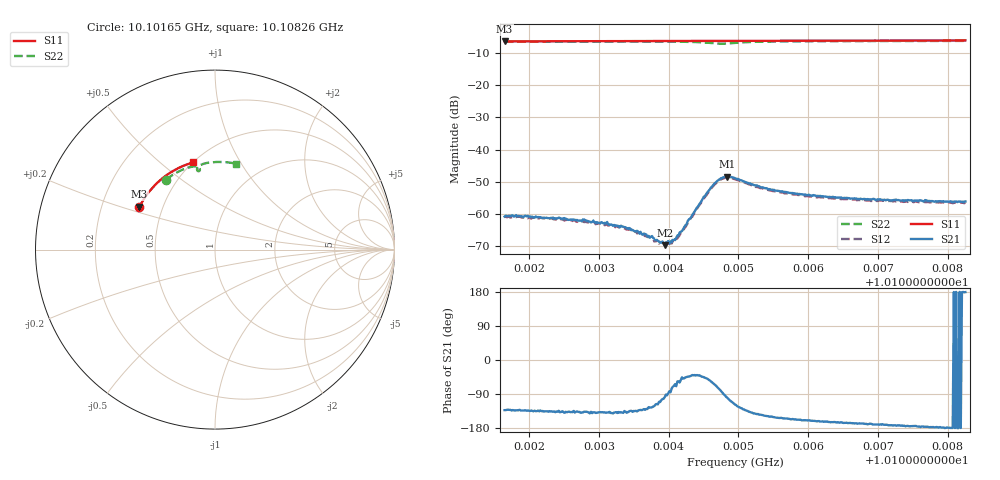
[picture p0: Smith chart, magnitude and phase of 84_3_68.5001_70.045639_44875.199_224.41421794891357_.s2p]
#  HZ  S  RI  R  50.00
! Rohde & Schwarz Vector Network Analyzer
! Rohde-Schwarz,ZNB20-2Port,1311601062101988,3.16
! Created: UTC 3/20/2024, 5:07:26 PM
! freq[Hz]  re:S11  im:S11  re:S21  im:S21  re:S12  im:S12  re:S22  im:S22
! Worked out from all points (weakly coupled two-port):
!   401 points, 10.10165 GHz to 10.10826 GHz, reference 50 ohm
!   highest |S21| = -48.46 dB at 10.10484 GHz (marker M1); lowest = -69.7 dB at 10.10394 GHz (marker M2)
!   lowest |S11| = -6.3 dB at 10.10165 GHz (marker M3), VSWR 2.87, Z = 18.5 + j11.5 ohm
!   |S11| at or under -10 dB: nowhere
!   |S22| runs from -7.0 to -6.1 dB; largest |S21 - S12| = 0.00039
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1.0101646e10  -0.4207 0.2389  -0.000608 -0.000667  -0.000516 -0.000722  -0.2742 0.3894
1.0101977e10  -0.4112 0.2568  -0.000636 -0.000674  -0.000534 -0.000659  -0.2569 0.4021
1.0102192e10  -0.4047 0.2682  -0.000599 -0.000611  -0.000567 -0.000642  -0.2455 0.4099
1.0102753e10  -0.3864 0.2968  -0.000575 -0.000503  -0.000523 -0.000557  -0.2138 0.429
1.0103084e10  -0.3746 0.3132  -0.000538 -0.000482  -0.000462 -0.000473  -0.1943 0.4392
1.0103464e10  -0.3602 0.3312  -0.000385 -0.000399  -0.000378 -0.000423  -0.1706 0.4494
1.0103745e10  -0.3491 0.344  -0.000255 -0.000357  -0.000205 -0.00038  -0.1521 0.4562
1.010386e10  -0.3444 0.3494  -0.00013 -0.000347  -0.000126 -0.000318  -0.1439 0.4585
1.0103943e10  -0.3408 0.353  -4.53e-05 -0.000323  -2.25e-05 -0.000329  -0.1379 0.46
1.0103976e10  -0.3394 0.3545  -1.98e-05 -0.000356  1.93e-05 -0.000329  -0.1356 0.4607
1.0104042e10  -0.3367 0.3573  9.2e-05 -0.000347  9.89e-05 -0.000329  -0.1304 0.4616
1.0104125e10  -0.3332 0.3609  0.000253 -0.000382  0.000217 -0.00035  -0.1239 0.4627
1.0104224e10  -0.3291 0.3649  0.000413 -0.000465  0.000439 -0.00039  -0.1159 0.4634
1.0104472e10  -0.3181 0.3756  0.00114 -0.0011  0.00119 -0.000956  -0.0938 0.4588
1.010462e10  -0.3114 0.3815  0.00138 -0.00226  0.00153 -0.00204  -0.0844 0.4475
1.010472e10  -0.3069 0.3853  0.000836 -0.00328  0.00109 -0.00306  -0.0867 0.4387
1.0104835e10  -0.3016 0.3899  -0.0006 -0.00373  -0.000239 -0.00363  -0.0964 0.4382
1.0104951e10  -0.2964 0.3942  -0.00165 -0.00319  -0.00131 -0.00317  -0.1001 0.4482
1.0105463e10  -0.2718 0.4134  -0.00205 -0.00122  -0.00187 -0.00135  -0.0684 0.4763
1.0106058e10  -0.2418 0.4333  -0.00179 -0.000635  -0.00166 -0.000789  -0.0266 0.4855
1.0107165e10  -0.1823 0.4639  -0.0016 -0.00022  -0.00154 -0.00039  0.0465 0.4879
1.0108255e10  -0.1201 0.486  -0.00155 2.34e-05  -0.00149 -0.000121  0.1161 0.4788
